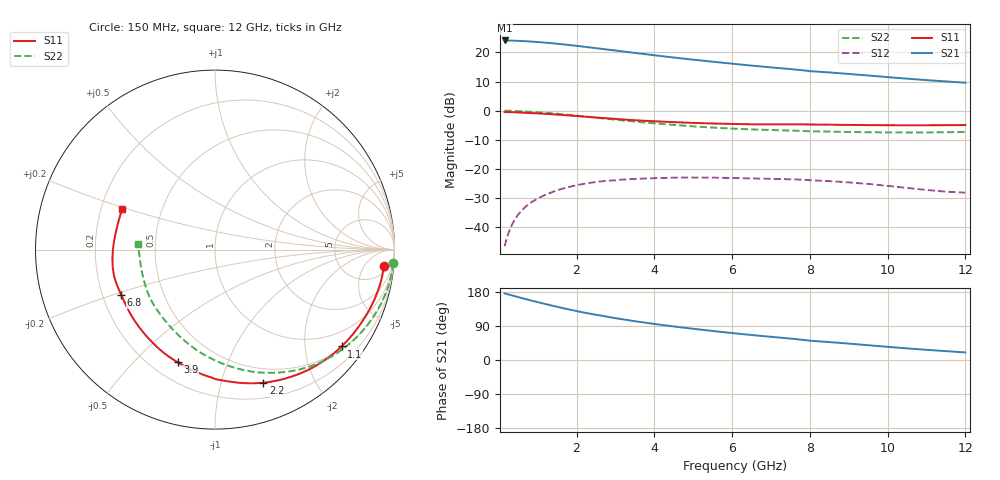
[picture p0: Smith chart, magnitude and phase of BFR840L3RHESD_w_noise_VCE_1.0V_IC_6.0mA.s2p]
! Infineon Technologies  Discrete & RF Semiconductors
! BFR840L3RHESD
! VCE =  1.0 V,  IC =  6.0 mA
! Common Emitter S-Parameters:  Jun 2012
# GHz  S  MA  R  50
!  f  S11  S21  S12  S22
! GHz  MAG  ANG  MAG  ANG  MAG  ANG  MAG  ANG
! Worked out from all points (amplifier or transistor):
!   91 points, 150 MHz to 12 GHz, reference 50 ohm
!   highest |S21| = 24.1 dB at 150 MHz (marker M1)
!   |S21| within 3 dB of that: start of sweep to 2.71 GHz
!   unconditionally stable (mu >= 1): 9.027 GHz to end of sweep
!   at 1.3 GHz: K = 0.10, MSG = 25.8 dB, |S12| = -28.4 dB
!   at 4.3 GHz: K = 0.32, MSG = 20.8 dB, |S12| = -23.1 dB
!   at 12 GHz: K = 2.25, MAG = 12.6 dB, |S12| = -28.2 dB
!   lowest NFmin = 0.53 dB at 450 MHz
!   S11 on the Smith chart (normalised r, x): 150 MHz: 9, -15; 1.1 GHz: 0.56, -2.86; 2.2 GHz: 0.35, -1.37; 3.9 GHz: 0.30, -0.68; 6.8 GHz: 0.28, -0.21; 12 GHz: 0.29, +0.19
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0.15  0.9442 -5.4  16.04 175.8  0.0047 83.1  0.9955 -4.4
0.35  0.9391 -12.5  15.93 170.2  0.0113 77.1  0.989 -10.6
0.6  0.9235 -21.1  15.66 163.2  0.0197 73.9  0.9732 -17.9
0.8  0.9096 -27.7  15.39 157.8  0.0256 70.4  0.9569 -23.5
1.1  0.8881 -37.4  14.89 150.1  0.0334 64.2  0.928 -31.7
1.3  0.8723 -43.6  14.5 145.2  0.0382 60.1  0.9063 -37.0
1.6  0.846 -52.8  13.86 138.1  0.0448 54.4  0.8708 -44.7
1.9  0.8176 -61.6  13.18 131.3  0.0506 49.2  0.8328 -52.0
2.2  0.7893 -70.0  12.5 125.0  0.0554 44.2  0.7939 -58.8
2.5  0.7619 -77.6  11.81 119.4  0.0594 39.4  0.7563 -65.2
3  0.7225 -89.5  10.78 110.4  0.0633 32.6  0.6998 -74.8
3.5  0.6841 -100.4  9.792 102.4  0.0671 26.8  0.6476 -84.2
3.9  0.6615 -108.4  9.096 96.6  0.0688 22.9  0.6129 -90.9
4.2  0.6474 -114.1  8.615 92.4  0.0697 20.2  0.5899 -95.7
5  0.6155 -128.1  7.505 82.4  0.071 13.6  0.5375 -107.9
5.6  0.5992 -137.6  6.814 75.5  0.0704 9.3  0.5076 -116.4
6.1  0.5888 -144.9  6.304 70.1  0.0695 6.2  0.4883 -123.2
6.8  0.5803 -154.2  5.685 63.1  0.0678 2.6  0.4687 -132.3
8  0.5777 -170.7  4.767 50.9  0.0638 -3.7  0.4424 -148.8
8.5  0.5732 -175.4  4.526 47.3  0.0615 -5.7  0.4356 -153.4
10.5  0.56 166.1  3.54 30.7  0.047 -9.6  0.4218 -172.8
12  0.5658 156.2  3.018 19.9  0.039 -0.5  0.4306 176.1
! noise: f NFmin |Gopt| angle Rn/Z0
0.45  0.53  0.47  6  0.18
0.9  0.57  0.47  11  0.18
1.9  0.6  0.48  29  0.17
3.5  0.62  0.48  47  0.15
4  0.64  0.47  55  0.15
5.5  0.68  0.47  70  0.13
7  0.75  0.46  91  0.12
8  0.81  0.43  100  0.11
10  0.94  0.39  123  0.1
12  1.11  0.33  153  0.09
